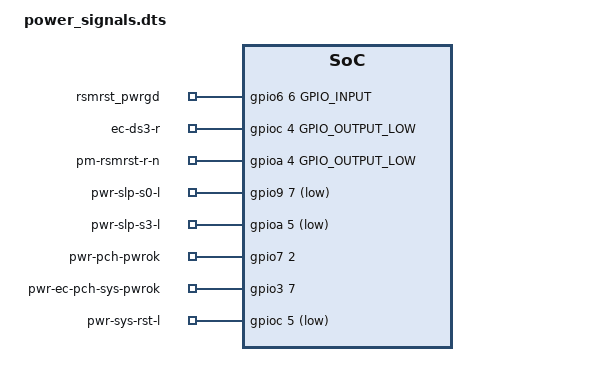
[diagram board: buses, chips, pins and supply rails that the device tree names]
/* Copyright 2022 The Chromium OS Authors. All rights reserved.
 * Use of this source code is governed by a BSD-style license that can be
 * found in the LICENSE file.
 */

/ {
	chosen {
		intel-ap-pwrseq,espi = &espi0;
	};

	common-pwrseq {
		compatible = "intel,ap-pwrseq";

		sys-pwrok-delay = <3>;
		all-sys-pwrgd-timeout = <0>;
		pwrseq-espi-max-freq = <25>;
	};

	/* Inputs */
	rsmrst_pwrgd {
		compatible = "intel,ap-pwrseq-gpio";
		dbg-label = "RSMRST power good from regulator";
		enum-name = "PWR_RSMRST";
		gpios = <&gpio6 6 GPIO_INPUT>; /* 1.8V */
		interrupt-flags = <GPIO_INT_EDGE_BOTH>;
	};

	/* Outputs */
	ec-ds3-r {
		compatible = "intel,ap-pwrseq-gpio";
		dbg-label = "Enable A-rails"
		enum-name = "PWR_EN_DS3";
		gpios = <&gpioc 4 GPIO_OUTPUT_LOW>;
		output;
	};
	pm-rsmrst-r-n {
		compatible = "intel,ap-pwrseq-gpio";
		dbg-label = "RSMRST output to PCH";
		enum-name = "PWR_EC_PCH_RSMRST";
		gpios = <&gpioa 4 GPIO_OUTPUT_LOW>; /* 1.8V */
		output;
	};

	pwr-slp-s0-l {
		compatible = "intel,ap-pwrseq-gpio";
		dbg-label = "SLP_S0_L input from PCH";
		enum-name = "PWR_SLP_S0";
		gpios = <&gpio9 7 GPIO_ACTIVE_LOW>;
		interrupt-flags = <GPIO_INT_EDGE_BOTH>;
	};
	pwr-slp-s3-l {
		compatible = "intel,ap-pwrseq-gpio";
		dbg-label = "SLP_S3_L input from PCH";
		enum-name = "PWR_SLP_S3";
		gpios = <&gpioa 5 GPIO_ACTIVE_LOW>;
		interrupt-flags = <GPIO_INT_EDGE_BOTH>;
	};
	pwr-pch-pwrok {
		compatible = "intel,ap-pwrseq-gpio";
		dbg-label = "PCH_PWROK output to PCH";
		enum-name = "PWR_PCH_PWROK";
		gpios = <&gpio7 2 GPIO_OPEN_DRAIN>;
		output;
	};
	pwr-ec-pch-sys-pwrok {
		compatible = "intel,ap-pwrseq-gpio";
		dbg-label = "SYS_PWROK output to PCH";
		enum-name = "PWR_EC_PCH_SYS_PWROK";
		gpios = <&gpio3 7 0>;
		output;
	};
	pwr-sys-rst-l {
		compatible = "intel,ap-pwrseq-gpio";
		dbg-label = "SYS_RESET# output to PCH";
		enum-name = "PWR_SYS_RST";
		gpios = <&gpioc 5 (GPIO_ACTIVE_LOW|GPIO_OPEN_DRAIN)>;
		output;
	};
	pwr-slp-s4 {
		compatible = "intel,ap-pwrseq-vw";
		dbg-label = "SLP_S4 virtual wire input from PCH";
		enum-name = "PWR_SLP_S4";
		virtual-wire = "ESPI_VWIRE_SIGNAL_SLP_S4";
		vw-invert;
	};
	pwr-slp-s5 {
		compatible = "intel,ap-pwrseq-vw";
		dbg-label = "SLP_S5 virtual wire input from PCH";
		enum-name = "PWR_SLP_S5";
		virtual-wire = "ESPI_VWIRE_SIGNAL_SLP_S5";
		vw-invert;
	};
	pwr-all-sys-pwrgd {
		compatible = "intel,ap-pwrseq-external";
		dbg-label = "Combined all power good";
		enum-name = "PWR_ALL_SYS_PWRGD";
	};
};
